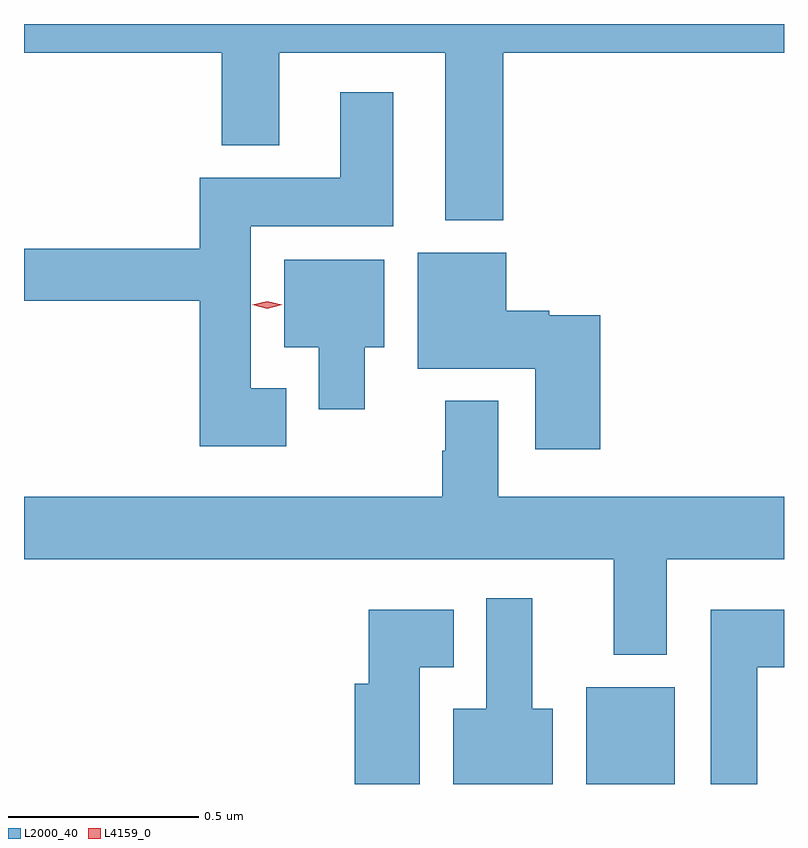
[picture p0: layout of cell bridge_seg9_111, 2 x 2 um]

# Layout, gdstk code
import gdstk
lib = gdstk.Library(unit=1e-6, precision=1e-09)
def R(c, l, rs):  # rectangles x0, y0, x1, y1
    for r in rs: c.add(gdstk.rectangle(r[:2], r[2:], *l))
def P(c, l, *ps):  # polygons
    for p in ps: c.add(gdstk.Polygon(p, *l))
L2000_40 = (2000, 40)
L4159_0 = (4159, 0)

bridge_seg9_111 = lib.new_cell('bridge_seg9_111')
R(bridge_seg9_111, L2000_40, [(869.441,1186.504,869.674,1186.759)])
P(bridge_seg9_111, L2000_40, [(867.961,1188.428),(868.481,1188.428),(868.481,1188.185),(868.633,1188.185),(868.633,1188.428),(869.069,1188.428),(869.069,1187.987),(869.222,1187.987),(869.222,1188.428),(869.961,1188.428),(869.961,1188.504),(867.961,1188.504)],
  [(868.651,1187.545),(868.558,1187.545),(868.558,1187.972),(868.933,1187.972),(868.933,1188.325),(868.793,1188.325),(868.793,1188.1),(868.424,1188.1),(868.424,1187.912),(867.961,1187.912),(867.961,1187.776),(868.424,1187.776),(868.424,1187.393),(868.651,1187.393)],
  [(869.477,1187.737),(869.343,1187.737),(869.343,1187.75),(869.23,1187.75),(869.23,1187.902),(868.997,1187.902),(868.997,1187.597),(869.306,1187.597),(869.306,1187.385),(869.477,1187.385)],
  [(868.858,1187.654),(868.909,1187.654),(868.909,1187.884),(868.646,1187.884),(868.646,1187.654),(868.736,1187.654),(868.736,1187.49),(868.858,1187.49)],
  [(869.653,1187.096),(869.961,1187.096),(869.961,1187.26),(869.209,1187.26),(869.209,1187.512),(869.069,1187.512),(869.069,1187.381),(869.062,1187.381),(869.062,1187.26),(867.961,1187.26),(867.961,1187.096),(869.513,1187.096),(869.513,1186.844),(869.653,1186.844)],
  [(869.353,1186.702),(869.299,1186.702),(869.299,1186.993),(869.177,1186.993),(869.177,1186.702),(869.09,1186.702),(869.09,1186.504),(869.353,1186.504)],
  [(869.002,1186.811),(869.092,1186.811),(869.092,1186.963),(868.868,1186.963),(868.868,1186.768),(868.832,1186.768),(868.832,1186.504),(869.002,1186.504)],
  [(869.89,1186.811),(869.961,1186.811),(869.961,1186.963),(869.768,1186.963),(869.768,1186.504),(869.89,1186.504)])
P(bridge_seg9_111, L4159_0, [(868.601,1187.755),(868.562,1187.765),(868.561,1187.765),(868.562,1187.765),(868.601,1187.775),(868.641,1187.765),(868.641,1187.765),(868.641,1187.765)])

lib.write_gds('bridge_seg9_111.gds')
